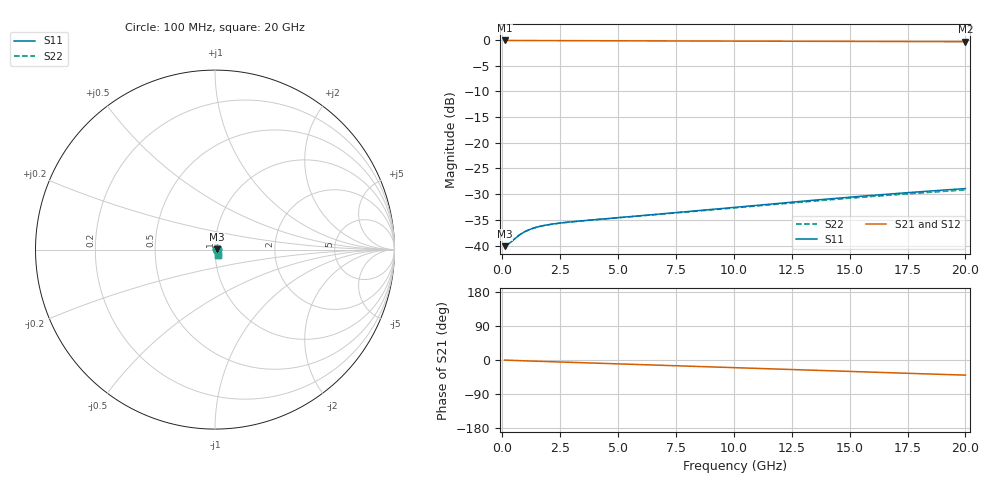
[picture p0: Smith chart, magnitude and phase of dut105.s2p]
! Touchstone file exported from HFSS 2026.1.0
!  File:  C:/ffzhzh/LocalFiles/Ansys_Project_Files/temp_train_TMRDL_105_1782982370_6248.aedt
!  Generated:  04:54:10 PM Jul  2, 2026
!  Design:  TMRDL
!  Project:  temp_train_TMRDL_105_1782982370_6248
! Variables:
!  h_bsmrdl = 2um
!  h_ox = 20um
!  h_rdl = 5um
!  h_sub = 80um
!  h_tmrdl = 2.46um
!  h_tsv = 80um
!  h_via = 3um
!  l_bsmrdl = 300um
!  l_sub = 1120.63um
!  l_tmrdl = 720.63um
!  m_sub = 200um
!  pitch = 12.65um
!  r_tsv = 6um
!  s_tmrdl = 10um
!  w_bsmrdl = 18um
!  w_sub = 500um
!  w_tmrdl = 10.52um
!  x_tsv_center1 = 725.89um
!  x_tsv_center2 = 1043.89um
!  x_tsv_center3 = 1775.04um
!  x_tsv_center4 = 2093.04um
!  x_tsv_center5 = 2824.19um
!  x_tsv_center6 = 3142.19um
# GHz S MA R 50.000000
! Terminal data exported
! Port[1] = TM_RDL1_1_T1
! Port[2] = TM_RDL1_1_T2
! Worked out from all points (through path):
!   200 points, 100 MHz to 20 GHz, reference 50 ohm
!   highest |S21| = -0.09 dB at 100 MHz (marker M1); lowest = -0.3 dB at 20 GHz (marker M2)
!   group delay of S21, straight-line fit = 5.53 ps
!   lowest |S11| = -40.1 dB at 100 MHz (marker M3), VSWR 1.02, Z = 51 + j0.0665 ohm
!   |S11| at or under -10 dB: start of sweep to end of sweep
!   |S22| runs from -40.1 to -29.2 dB; largest |S21 - S12| = 5.2e-15
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0.1  0.009855 3.8  0.9902 -0.2  0.9902 -0.2  0.009855 3.8
! Gamma 0 0 0 0
! Port Impedance 50 0 50 0
0.2  0.01011 7.2  0.99 -0.5  0.99 -0.5  0.01011 7.2
0.3  0.01049 9.9  0.9897 -0.7  0.9897 -0.7  0.01049 9.9
0.6  0.01198 14.0  0.9885 -1.4  0.9885 -1.4  0.01197 13.9
0.8  0.01293 14.2  0.9876 -1.8  0.9876 -1.8  0.01292 14.1
1  0.01373 13.4  0.9868 -2.2  0.9868 -2.2  0.01372 13.4
1.1  0.01407 12.9  0.9864 -2.5  0.9864 -2.5  0.01406 12.9
1.3  0.01466 11.7  0.9858 -2.9  0.9858 -2.9  0.01464 11.7
1.5  0.01512 10.4  0.9853 -3.3  0.9853 -3.3  0.01511 10.4
1.7  0.01551 9.1  0.9848 -3.7  0.9848 -3.7  0.01549 9.1
2.1  0.0161 6.8  0.9842 -4.5  0.9842 -4.5  0.01608 6.8
2.7  0.01675 3.8  0.9834 -5.7  0.9834 -5.7  0.01673 3.8
3.5  0.01745 0.4  0.9827 -7.3  0.9827 -7.3  0.01741 0.4
5.2  0.01882 -5.9  0.9812 -10.7  0.9812 -10.7  0.01874 -5.8
6.8  0.02023 -11.4  0.9797 -13.9  0.9797 -13.9  0.02008 -11.3
8.4  0.0218 -17.0  0.978 -17.1  0.978 -17.1  0.02158 -16.9
10.1  0.02364 -23.1  0.976 -20.5  0.976 -20.5  0.02331 -23.0
11.7  0.02549 -28.9  0.9741 -23.7  0.9741 -23.7  0.02506 -28.9
13.4  0.02755 -35.1  0.9719 -27.0  0.9719 -27.0  0.027 -35.1
15  0.02954 -40.9  0.9698 -30.2  0.9698 -30.2  0.02887 -41.1
16.7  0.03169 -47.0  0.9676 -33.5  0.9676 -33.5  0.03088 -47.3
20  0.03583 -58.6  0.9635 -40.0  0.9635 -40.0  0.03473 -59.1
